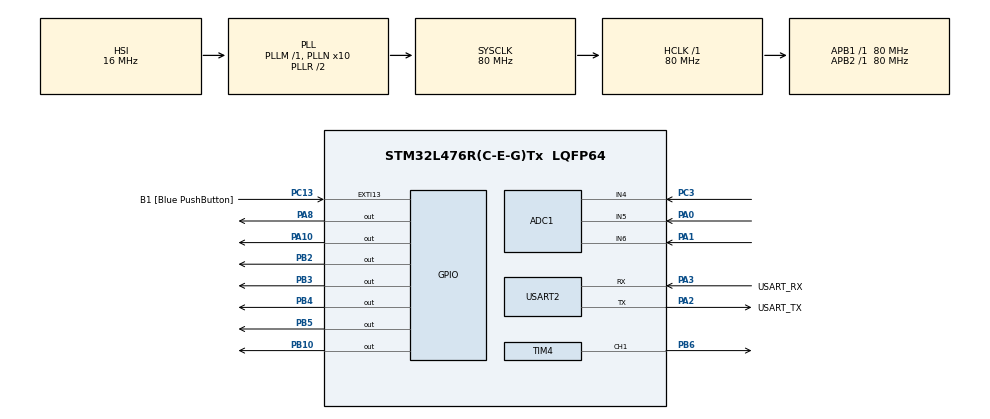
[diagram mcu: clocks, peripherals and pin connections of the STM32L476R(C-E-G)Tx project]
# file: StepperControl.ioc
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Mcu.Family=STM32L4
PA2.GPIO_PuPd=GPIO_NOPULL
RCC.CortexFreq_Value=80000000
ADC1.ContinuousConvMode=ENABLE
PH0-OSC_IN\ (PH0).Signal=RCC_OSC_IN
PA3.GPIO_PuPd=GPIO_NOPULL
PA2.GPIO_Speed=GPIO_SPEED_FREQ_VERY_HIGH
PC15-OSC32_OUT\ (PC15).Mode=LSE-External-Oscillator
PC13.GPIO_Label=B1 [Blue PushButton]
PA3.GPIO_Speed=GPIO_SPEED_FREQ_VERY_HIGH
RCC.SYSCLKSource=RCC_SYSCLKSOURCE_PLLCLK
ProjectManager.StackSize=0x400
PB3\ (JTDO-TRACESWO).Signal=GPIO_Output
PC14-OSC32_IN\ (PC14).Mode=LSE-External-Oscillator
PA14\ (JTCK-SWCLK).Signal=SYS_JTCK-SWCLK
TIM1.Prescaler=80-1
RCC.HCLKFreq_Value=80000000
RCC.APB2TimFreq_Value=80000000
PB6.Signal=S_TIM4_CH1
Dma.ADC1.0.Direction=DMA_PERIPH_TO_MEMORY
ADC1.Channel-2\#ChannelRegularConversion=ADC_CHANNEL_6
PC3.Signal=ADCx_IN4
Dma.ADC1.0.MemDataAlignment=DMA_MDATAALIGN_HALFWORD
RCC.AHBFreq_Value=80000000
RCC.PREFETCH_ENABLE=1
ADC1.Channel-0\#ChannelRegularConversion=ADC_CHANNEL_5
RCC.HSE_VALUE=8000000
PB2.Signal=GPIO_Output
USART2.VirtualMode-Asynchronous=VM_ASYNC
ADC1.Rank-2\#ChannelRegularConversion=3
Dma.ADC1.0.PeriphInc=DMA_PINC_DISABLE
NVIC.TIM2_IRQn=true\:0\:0\:false\:false\:true\:true\:true
PC13.GPIO_PuPd=GPIO_NOPULL
PA8.Signal=GPIO_Output
VP_TIM1_VS_ClockSourceINT.Mode=Internal
ADC1.SamplingTime-0\#ChannelRegularConversion=ADC_SAMPLETIME_640CYCLES_5
PA0.Signal=ADCx_IN5
Mcu.Package=LQFP64
TIM2.Prescaler=80-1
PA2.GPIO_Label=USART_TX
PA10.Signal=GPIO_Output
ADC1.OffsetNumber-1\#ChannelRegularConversion=ADC_OFFSET_NONE
SH.S_TIM4_CH1.0=TIM4_CH1,PWM Generation1 CH1
RCC.APB1TimFreq_Value=80000000
TIM1.Period=65535-1
PA13\ (JTMS-SWDIO).Signal=SYS_JTMS-SWDIO
Dma.Request0=ADC1
PA3.Signal=USART2_RX
PA2.GPIO_Mode=GPIO_MODE_AF_PP
RCC.MSI_VALUE=4000000
RCC.PLLSourceVirtual=RCC_PLLSOURCE_HSI
TIM4.Channel-PWM\ Generation1\ CH1=TIM_CHANNEL_1
PA14\ (JTCK-SWCLK).Mode=Serial_Wire
Dma.ADC1.0.Instance=DMA1_Channel1
SH.ADCx_IN6.0=ADC1_IN6,IN6-Single-Ended
PC13.Signal=GPXTI13
PC15-OSC32_OUT\ (PC15).Signal=RCC_OSC32_OUT
PA14\ (JTCK-SWCLK).GPIO_Label=TCK
ADC1.SamplingTime-2\#ChannelRegularConversion=ADC_SAMPLETIME_640CYCLES_5
PH1-OSC_OUT\ (PH1).Signal=RCC_OSC_OUT
PA3.Mode=Asynchronous
Dma.ADC1.0.PeriphDataAlignment=DMA_PDATAALIGN_HALFWORD
ProjectManager.TargetToolchain=STM32CubeIDE
Dma.ADC1.0.Mode=DMA_CIRCULAR
PA3.GPIO_Mode=GPIO_MODE_AF_PP
Dma.ADC1.0.Priority=DMA_PRIORITY_LOW
ADC1.Channel-1\#ChannelRegularConversion=ADC_CHANNEL_4
RCC.USBFreq_Value=64000000
PA1.Signal=ADCx_IN6
PB10.Signal=GPIO_Output
board=NUCLEO-L476RG
RCC.VCOOutputFreq_Value=160000000
RCC.APB2Freq_Value=80000000
PA13\ (JTMS-SWDIO).GPIO_Label=TMS
VP_TIM2_VS_ClockSourceINT.Mode=Internal
RCC.ADCFreq_Value=64000000
SH.ADCx_IN4.0=ADC1_IN4,IN4-Single-Ended
ADC1.DMAContinuousRequests=ENABLE
TIM2.Period=65535-1
ADC1.NbrOfConversion=3
ADC1.OffsetNumber-2\#ChannelRegularConversion=ADC_OFFSET_NONE
Mcu.Name=STM32L476R(C-E-G)Tx
PA2.Signal=USART2_TX
PA13\ (JTMS-SWDIO).Mode=Serial_Wire
ADC1.SamplingTime-1\#ChannelRegularConversion=ADC_SAMPLETIME_640CYCLES_5
RCC.SYSCLKFreq_VALUE=80000000
PB5.Signal=GPIO_Output
ADC1.master=1
PC13.GPIO_ModeDefaultEXTI=GPIO_MODE_IT_FALLING
PC14-OSC32_IN\ (PC14).Signal=RCC_OSC32_IN
ADC1.Rank-1\#ChannelRegularConversion=2
Dma.ADC1.0.MemInc=DMA_MINC_ENABLE
ProjectManager.HeapSize=0x200
RCC.HSI_VALUE=16000000
SH.ADCx_IN5.0=ADC1_IN5,IN5-Single-Ended
NVIC.TIM1_UP_TIM16_IRQn=true\:0\:0\:false\:false\:true\:true\:true
NVIC.PriorityGroup=NVIC_PRIORITYGROUP_4
ADC1.NbrOfConversionFlag=1
RCC.PLLN=10
PA2.Mode=Asynchronous
NVIC.DMA1_Channel1_IRQn=true\:0\:0\:false\:false\:true\:false\:true
RCC.APB1Freq_Value=80000000
ADC1.ClockPrescaler=ADC_CLOCK_SYNC_PCLK_DIV4
PA3.GPIO_Label=USART_RX
PB4\ (NJTRST).Signal=GPIO_Output

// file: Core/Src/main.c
/* USER CODE BEGIN Header */
/**
  ******************************************************************************
  * @file           : main.c
  * @brief          : Main program body
  ******************************************************************************
  * @attention
  *
  * <h2><center>&copy; Copyright (c) 2021 STMicroelectronics.
  * All rights reserved.</center></h2>
  *
  * This software component is licensed by ST under BSD 3-Clause license,
  * the "License"; You may not use this file except in compliance with the
  * License. You may obtain a copy of the License at:
  *                        opensource.org/licenses/BSD-3-Clause
  *
  ******************************************************************************
  */
/* USER CODE END Header */
#include "main.h"

/* USER CODE BEGIN Includes */
#include <stdio.h>
#include <string.h>
/* USER CODE END Includes */

/* USER CODE BEGIN PD */
#define DELAY_SLIDER 900	// slider speed adjustment
#define DELAY_ANGLE 60000	// wing angle speed adjustment
							// max delay value is 65536
/* USER CODE END PD */

ADC_HandleTypeDef hadc1;
DMA_HandleTypeDef hdma_adc1;

TIM_HandleTypeDef htim1;
TIM_HandleTypeDef htim2;
TIM_HandleTypeDef htim4;

UART_HandleTypeDef huart2;

/* USER CODE BEGIN PV */
uint16_t raw[3];
char msg[150];
int clk_toggle1, clk_toggle2, clk_toggle3;

/**************** ADC MOVEMENT SETUP ****************
 ********			START	STOP
 ******** SLIDER	20		1000
 ******** WING2		3450	3040  (decrements)
 ******** WING1		970		1360
 ********
 * *_start values below indicate start point of the system - on reset motors will move to this value.
 * *_end values mean when the movement ends - final stop point of the system.
 *
 * Whenever you adjust potentiometers remember to check the values printed on serial.
 * Wing1 is the one with black tape on it.
 * Channel 1 - slider
 * Channel 2 - wing2
 * Channel 3 - wing1
 */

int slider_start=20, wing2_start=3450, wing1_start=970;
int slider_end=1080, wing2_end=3040, wing1_end=1360;
/* USER CODE END PV */

void SystemClock_Config(void);
static void MX_GPIO_Init(void);
static void MX_DMA_Init(void);
static void MX_USART2_UART_Init(void);
static void MX_ADC1_Init(void);
static void MX_TIM1_Init(void);
static void MX_TIM2_Init(void);
static void MX_TIM4_Init(void);

int main(void)
{

  /* MCU Configuration--------------------------------------------------------*/

  /* Reset of all peripherals, Initializes the Flash interface and the Systick. */
  HAL_Init();

  /* Configure the system clock */
  SystemClock_Config();

  /* Initialize all configured peripherals */
  MX_GPIO_Init();
  MX_DMA_Init();
  MX_USART2_UART_Init();
  MX_ADC1_Init();
  MX_TIM1_Init();
  MX_TIM2_Init();
  MX_TIM4_Init();
  /* USER CODE BEGIN 2 */
  HAL_TIM_Base_Start_IT(&htim1);
  HAL_TIM_Base_Start_IT(&htim2);
  HAL_ADC_Start_DMA(&hadc1, raw, 3);

  HAL_GPIO_WritePin(GPIOB, GPIO_PIN_3, GPIO_PIN_SET);
  HAL_GPIO_WritePin(GPIOB, GPIO_PIN_5, GPIO_PIN_RESET);
  HAL_GPIO_WritePin(GPIOB, GPIO_PIN_10, GPIO_PIN_RESET);

  // --------------------- RESET ---------------------
  // --- PRESS THE BLUE BUTTON TO EXIT THIS STATE  ---
  HAL_Delay(500);
  while((raw[0] > slider_start)||(raw[1] < wing2_start)||(raw[2] > wing1_start)||(HAL_GPIO_ReadPin(GPIOC, GPIO_PIN_13) == GPIO_PIN_SET))
	{
	  HAL_Delay(100);
    if(raw[0] > slider_start) clk_toggle1 = 1;
    else clk_toggle1 = 0;
    if(raw[1] < wing2_start) clk_toggle2 = 1;
    else clk_toggle2 = 0;
    if(raw[2] > wing1_start) clk_toggle3 = 1;
    else clk_toggle3 = 0;
	sprintf (msg, "ADC value channel 1: %d, ADC value channel 2: %d, ADC value channel 3: %d\n\r", (int)raw[0], (int)raw[1], (int)raw[2]);
	HAL_UART_Transmit(&huart2, (uint8_t*) msg, strlen(msg), HAL_MAX_DELAY);
	}
  /* USER CODE END 2 */

  /* Infinite loop */
  while (1)
  {

    /* USER CODE BEGIN 3 */
//	  HAL_GPIO_TogglePin(GPIOA, GPIO_PIN_10);
//	  delay_us(600);
	  HAL_Delay(100);

	  sprintf (msg, "ADC value channel 1: %d, ADC value channel 2: %d, ADC value channel 3: %d\n\r", (int)raw[0], (int)raw[1], (int)raw[2]);
	  HAL_UART_Transmit(&huart2, (uint8_t*) msg, strlen(msg), HAL_MAX_DELAY);

	  clk_toggle1 = 1;
	  if((raw[0] > (slider_end - 100))&&(raw[0] < (slider_end + 100))) clk_toggle1 = 0;
	  else if(raw[0] > slider_end)
	  {
		  HAL_GPIO_WritePin(GPIOB, GPIO_PIN_3, GPIO_PIN_SET);
	  }
	  else if(raw[0] < slider_end)
	  {
		  HAL_GPIO_WritePin(GPIOB, GPIO_PIN_3, GPIO_PIN_RESET);
	  }

	  clk_toggle2 = 1;
	  if((raw[1] > (wing2_end - 30))&&(raw[1] < (wing2_end + 30))) clk_toggle2 = 0;
	  else if(raw[1] > wing2_end)
	  {
		  HAL_GPIO_WritePin(GPIOB, GPIO_PIN_5, GPIO_PIN_SET);
	  }
	  else if(raw[1] < wing2_end)
	  {
		  HAL_GPIO_WritePin(GPIOB, GPIO_PIN_5, GPIO_PIN_RESET);
	  }

	  clk_toggle3 = 1;
	  if((raw[2] > (wing1_end - 30))&&(raw[2] < (wing1_end + 30))) clk_toggle3 = 0;
	  else if(raw[2] < wing1_end)
	  {
		  HAL_GPIO_WritePin(GPIOB, GPIO_PIN_10, GPIO_PIN_SET);
	  }
	  else if(raw[2] > wing1_end)
	  {
		  HAL_GPIO_WritePin(GPIOB, GPIO_PIN_10, GPIO_PIN_RESET);
	  }

  }
  /* USER CODE END 3 */
}

void SystemClock_Config(void)
{
  RCC_OscInitTypeDef RCC_OscInitStruct = {0};
  RCC_ClkInitTypeDef RCC_ClkInitStruct = {0};
  RCC_PeriphCLKInitTypeDef PeriphClkInit = {0};

  /** Initializes the RCC Oscillators according to the specified parameters
  * in the RCC_OscInitTypeDef structure.
  */
  RCC_OscInitStruct.OscillatorType = RCC_OSCILLATORTYPE_HSI;
  RCC_OscInitStruct.HSIState = RCC_HSI_ON;
  RCC_OscInitStruct.HSICalibrationValue = RCC_HSICALIBRATION_DEFAULT;
  RCC_OscInitStruct.PLL.PLLState = RCC_PLL_ON;
  RCC_OscInitStruct.PLL.PLLSource = RCC_PLLSOURCE_HSI;
  RCC_OscInitStruct.PLL.PLLM = 1;
  RCC_OscInitStruct.PLL.PLLN = 10;
  RCC_OscInitStruct.PLL.PLLP = RCC_PLLP_DIV7;
  RCC_OscInitStruct.PLL.PLLQ = RCC_PLLQ_DIV2;
  RCC_OscInitStruct.PLL.PLLR = RCC_PLLR_DIV2;
  if (HAL_RCC_OscConfig(&RCC_OscInitStruct) != HAL_OK)
  {
    Error_Handler();
  }
  /** Initializes the CPU, AHB and APB buses clocks
  */
  RCC_ClkInitStruct.ClockType = RCC_CLOCKTYPE_HCLK|RCC_CLOCKTYPE_SYSCLK
                              |RCC_CLOCKTYPE_PCLK1|RCC_CLOCKTYPE_PCLK2;
  RCC_ClkInitStruct.SYSCLKSource = RCC_SYSCLKSOURCE_PLLCLK;
  RCC_ClkInitStruct.AHBCLKDivider = RCC_SYSCLK_DIV1;
  RCC_ClkInitStruct.APB1CLKDivider = RCC_HCLK_DIV1;
  RCC_ClkInitStruct.APB2CLKDivider = RCC_HCLK_DIV1;

  if (HAL_RCC_ClockConfig(&RCC_ClkInitStruct, FLASH_LATENCY_4) != HAL_OK)
  {
    Error_Handler();
  }
  PeriphClkInit.PeriphClockSelection = RCC_PERIPHCLK_USART2;
  PeriphClkInit.Usart2ClockSelection = RCC_USART2CLKSOURCE_PCLK1;
  if (HAL_RCCEx_PeriphCLKConfig(&PeriphClkInit) != HAL_OK)
  {
    Error_Handler();
  }
  /** Configure the main internal regulator output voltage
  */
  if (HAL_PWREx_ControlVoltageScaling(PWR_REGULATOR_VOLTAGE_SCALE1) != HAL_OK)
  {
    Error_Handler();
  }
}

static void MX_ADC1_Init(void)
{

  ADC_MultiModeTypeDef multimode = {0};
  ADC_ChannelConfTypeDef sConfig = {0};

  /** Common config
  */
  hadc1.Instance = ADC1;
  hadc1.Init.ClockPrescaler = ADC_CLOCK_SYNC_PCLK_DIV4;
  hadc1.Init.Resolution = ADC_RESOLUTION_12B;
  hadc1.Init.DataAlign = ADC_DATAALIGN_RIGHT;
  hadc1.Init.ScanConvMode = ADC_SCAN_ENABLE;
  hadc1.Init.EOCSelection = ADC_EOC_SINGLE_CONV;
  hadc1.Init.LowPowerAutoWait = DISABLE;
  hadc1.Init.ContinuousConvMode = ENABLE;
  hadc1.Init.NbrOfConversion = 3;
  hadc1.Init.DiscontinuousConvMode = DISABLE;
  hadc1.Init.ExternalTrigConv = ADC_SOFTWARE_START;
  hadc1.Init.ExternalTrigConvEdge = ADC_EXTERNALTRIGCONVEDGE_NONE;
  hadc1.Init.DMAContinuousRequests = ENABLE;
  hadc1.Init.Overrun = ADC_OVR_DATA_PRESERVED;
  hadc1.Init.OversamplingMode = DISABLE;
  if (HAL_ADC_Init(&hadc1) != HAL_OK)
  {
    Error_Handler();
  }
  /** Configure the ADC multi-mode
  */
  multimode.Mode = ADC_MODE_INDEPENDENT;
  if (HAL_ADCEx_MultiModeConfigChannel(&hadc1, &multimode) != HAL_OK)
  {
    Error_Handler();
  }
  /** Configure Regular Channel
  */
  sConfig.Channel = ADC_CHANNEL_5;
  sConfig.Rank = ADC_REGULAR_RANK_1;
  sConfig.SamplingTime = ADC_SAMPLETIME_640CYCLES_5;
  sConfig.SingleDiff = ADC_SINGLE_ENDED;
  sConfig.OffsetNumber = ADC_OFFSET_NONE;
  sConfig.Offset = 0;
  if (HAL_ADC_ConfigChannel(&hadc1, &sConfig) != HAL_OK)
  {
    Error_Handler();
  }
  /** Configure Regular Channel
  */
  sConfig.Channel = ADC_CHANNEL_4;
  sConfig.Rank = ADC_REGULAR_RANK_2;
  if (HAL_ADC_ConfigChannel(&hadc1, &sConfig) != HAL_OK)
  {
    Error_Handler();
  }
  /** Configure Regular Channel
  */
  sConfig.Channel = ADC_CHANNEL_6;
  sConfig.Rank = ADC_REGULAR_RANK_3;
  if (HAL_ADC_ConfigChannel(&hadc1, &sConfig) != HAL_OK)
  {
    Error_Handler();
  }

}

static void MX_TIM1_Init(void)
{

  TIM_ClockConfigTypeDef sClockSourceConfig = {0};
  TIM_MasterConfigTypeDef sMasterConfig = {0};

  htim1.Instance = TIM1;
  htim1.Init.Prescaler = 80-1;
  htim1.Init.CounterMode = TIM_COUNTERMODE_UP;
  htim1.Init.Period = DELAY_SLIDER-1;
  htim1.Init.ClockDivision = TIM_CLOCKDIVISION_DIV1;
  htim1.Init.RepetitionCounter = 0;
  htim1.Init.AutoReloadPreload = TIM_AUTORELOAD_PRELOAD_DISABLE;
  if (HAL_TIM_Base_Init(&htim1) != HAL_OK)
  {
    Error_Handler();
  }
  sClockSourceConfig.ClockSource = TIM_CLOCKSOURCE_INTERNAL;
  if (HAL_TIM_ConfigClockSource(&htim1, &sClockSourceConfig) != HAL_OK)
  {
    Error_Handler();
  }
  sMasterConfig.MasterOutputTrigger = TIM_TRGO_RESET;
  sMasterConfig.MasterOutputTrigger2 = TIM_TRGO2_RESET;
  sMasterConfig.MasterSlaveMode = TIM_MASTERSLAVEMODE_DISABLE;
  if (HAL_TIMEx_MasterConfigSynchronization(&htim1, &sMasterConfig) != HAL_OK)
  {
    Error_Handler();
  }

}

static void MX_TIM2_Init(void)
{

  TIM_ClockConfigTypeDef sClockSourceConfig = {0};
  TIM_MasterConfigTypeDef sMasterConfig = {0};

  htim2.Instance = TIM2;
  htim2.Init.Prescaler = 80-1;
  htim2.Init.CounterMode = TIM_COUNTERMODE_UP;
  htim2.Init.Period = DELAY_ANGLE-1;
  htim2.Init.ClockDivision = TIM_CLOCKDIVISION_DIV1;
  htim2.Init.AutoReloadPreload = TIM_AUTORELOAD_PRELOAD_DISABLE;
  if (HAL_TIM_Base_Init(&htim2) != HAL_OK)
  {
    Error_Handler();
  }
  sClockSourceConfig.ClockSource = TIM_CLOCKSOURCE_INTERNAL;
  if (HAL_TIM_ConfigClockSource(&htim2, &sClockSourceConfig) != HAL_OK)
  {
    Error_Handler();
  }
  sMasterConfig.MasterOutputTrigger = TIM_TRGO_RESET;
  sMasterConfig.MasterSlaveMode = TIM_MASTERSLAVEMODE_DISABLE;
  if (HAL_TIMEx_MasterConfigSynchronization(&htim2, &sMasterConfig) != HAL_OK)
  {
    Error_Handler();
  }

}

static void MX_TIM4_Init(void)
{

  TIM_MasterConfigTypeDef sMasterConfig = {0};
  TIM_OC_InitTypeDef sConfigOC = {0};

  htim4.Instance = TIM4;
  htim4.Init.Prescaler = 0;
  htim4.Init.CounterMode = TIM_COUNTERMODE_UP;
  htim4.Init.Period = 65535;
  htim4.Init.ClockDivision = TIM_CLOCKDIVISION_DIV1;
  htim4.Init.AutoReloadPreload = TIM_AUTORELOAD_PRELOAD_DISABLE;
  if (HAL_TIM_PWM_Init(&htim4) != HAL_OK)
  {
    Error_Handler();
  }
  sMasterConfig.MasterOutputTrigger = TIM_TRGO_RESET;
  sMasterConfig.MasterSlaveMode = TIM_MASTERSLAVEMODE_DISABLE;
  if (HAL_TIMEx_MasterConfigSynchronization(&htim4, &sMasterConfig) != HAL_OK)
  {
    Error_Handler();
  }
  sConfigOC.OCMode = TIM_OCMODE_PWM1;
  sConfigOC.Pulse = 0;
  sConfigOC.OCPolarity = TIM_OCPOLARITY_HIGH;
  sConfigOC.OCFastMode = TIM_OCFAST_DISABLE;
  if (HAL_TIM_PWM_ConfigChannel(&htim4, &sConfigOC, TIM_CHANNEL_1) != HAL_OK)
  {
    Error_Handler();
  }
  HAL_TIM_MspPostInit(&htim4);

}

static void MX_USART2_UART_Init(void)
{

  huart2.Instance = USART2;
  huart2.Init.BaudRate = 115200;
  huart2.Init.WordLength = UART_WORDLENGTH_8B;
  huart2.Init.StopBits = UART_STOPBITS_1;
  huart2.Init.Parity = UART_PARITY_NONE;
  huart2.Init.Mode = UART_MODE_TX_RX;
  huart2.Init.HwFlowCtl = UART_HWCONTROL_NONE;
  huart2.Init.OverSampling = UART_OVERSAMPLING_16;
  huart2.Init.OneBitSampling = UART_ONE_BIT_SAMPLE_DISABLE;
  huart2.AdvancedInit.AdvFeatureInit = UART_ADVFEATURE_NO_INIT;
  if (HAL_UART_Init(&huart2) != HAL_OK)
  {
    Error_Handler();
  }

}

static void MX_DMA_Init(void)
{

  /* DMA controller clock enable */
  __HAL_RCC_DMA1_CLK_ENABLE();

  /* DMA interrupt init */
  /* DMA1_Channel1_IRQn interrupt configuration */
  HAL_NVIC_SetPriority(DMA1_Channel1_IRQn, 0, 0);
  HAL_NVIC_EnableIRQ(DMA1_Channel1_IRQn);

}

static void MX_GPIO_Init(void)
{
  GPIO_InitTypeDef GPIO_InitStruct = {0};

  /* GPIO Ports Clock Enable */
  __HAL_RCC_GPIOC_CLK_ENABLE();
  __HAL_RCC_GPIOH_CLK_ENABLE();
  __HAL_RCC_GPIOA_CLK_ENABLE();
  __HAL_RCC_GPIOB_CLK_ENABLE();

  /*Configure GPIO pin Output Level */
  HAL_GPIO_WritePin(GPIOB, GPIO_PIN_2|GPIO_PIN_10|GPIO_PIN_3|GPIO_PIN_4
                          |GPIO_PIN_5, GPIO_PIN_RESET);

  /*Configure GPIO pin Output Level */
  HAL_GPIO_WritePin(GPIOA, GPIO_PIN_8|GPIO_PIN_10, GPIO_PIN_RESET);

  /*Configure GPIO pin : B1_Pin */
  GPIO_InitStruct.Pin = B1_Pin;
  GPIO_InitStruct.Mode = GPIO_MODE_IT_FALLING;
  GPIO_InitStruct.Pull = GPIO_NOPULL;
  HAL_GPIO_Init(B1_GPIO_Port, &GPIO_InitStruct);

  /*Configure GPIO pins : PB2 PB10 PB3 PB4
                           PB5 */
  GPIO_InitStruct.Pin = GPIO_PIN_2|GPIO_PIN_10|GPIO_PIN_3|GPIO_PIN_4
                          |GPIO_PIN_5;
  GPIO_InitStruct.Mode = GPIO_MODE_OUTPUT_PP;
  GPIO_InitStruct.Pull = GPIO_NOPULL;
  GPIO_InitStruct.Speed = GPIO_SPEED_FREQ_LOW;
  HAL_GPIO_Init(GPIOB, &GPIO_InitStruct);

  /*Configure GPIO pins : PA8 PA10 */
  GPIO_InitStruct.Pin = GPIO_PIN_8|GPIO_PIN_10;
  GPIO_InitStruct.Mode = GPIO_MODE_OUTPUT_PP;
  GPIO_InitStruct.Pull = GPIO_NOPULL;
  GPIO_InitStruct.Speed = GPIO_SPEED_FREQ_LOW;
  HAL_GPIO_Init(GPIOA, &GPIO_InitStruct);

}

/* USER CODE BEGIN 4 */
void delay_us (uint16_t us)
{
	__HAL_TIM_SET_COUNTER(&htim1,0);  // set the counter value a 0
	while (__HAL_TIM_GET_COUNTER(&htim1) < us);  // wait for the counter to reach the us input in the parameter
}

void HAL_TIM_PeriodElapsedCallback(TIM_HandleTypeDef *htim)
{
  if (htim == &htim1)
  {
	  if(clk_toggle1 == 1)
		  HAL_GPIO_TogglePin(GPIOA, GPIO_PIN_10);
	  if(clk_toggle1 == 0)
		  HAL_GPIO_WritePin(GPIOA, GPIO_PIN_10, GPIO_PIN_RESET);
  }
  if (htim == &htim2)
  {
	  if(clk_toggle2 == 1)
		  HAL_GPIO_TogglePin(GPIOB, GPIO_PIN_4);
	  if(clk_toggle2 == 0)
		  HAL_GPIO_WritePin(GPIOB, GPIO_PIN_4, GPIO_PIN_RESET);
	  if(clk_toggle3 == 1)
		  HAL_GPIO_TogglePin(GPIOA, GPIO_PIN_8);
	  if(clk_toggle3 == 0)
		  HAL_GPIO_WritePin(GPIOA, GPIO_PIN_8, GPIO_PIN_RESET);
  }
}

/* USER CODE END 4 */

void Error_Handler(void)
{
  __disable_irq();
  while (1)
  {
  }
}

/************************ (C) COPYRIGHT STMicroelectronics *****END OF FILE****/
